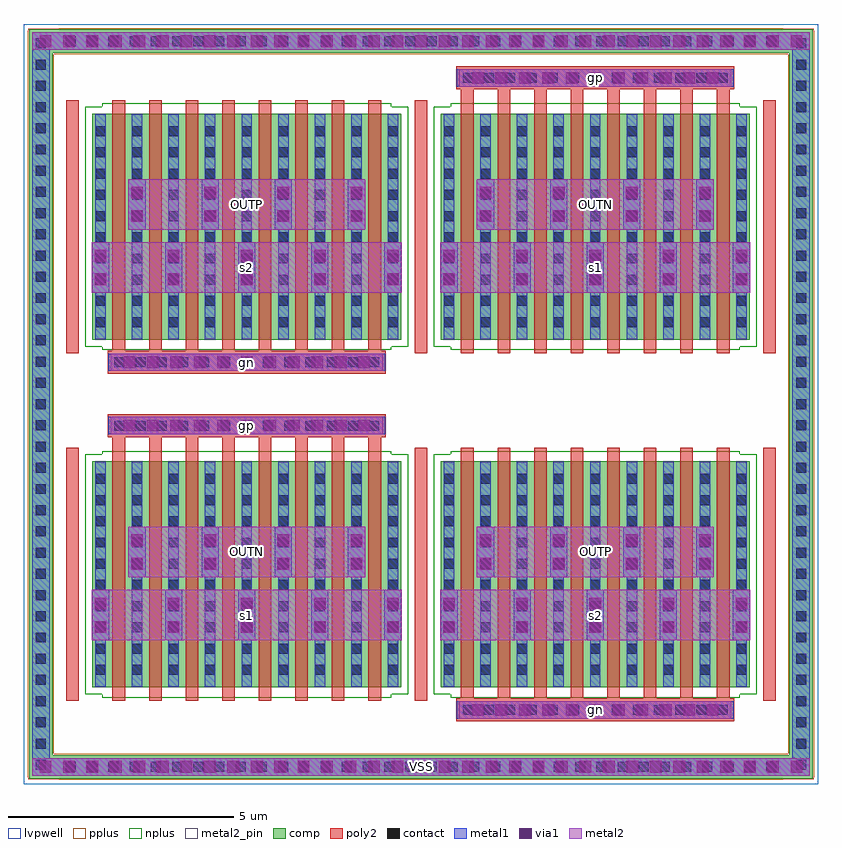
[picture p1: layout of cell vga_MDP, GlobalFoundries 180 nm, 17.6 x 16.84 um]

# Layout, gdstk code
import gdstk
lib = gdstk.Library(unit=1e-6, precision=1e-09)
def R(c, l, rs):  # rectangles x0, y0, x1, y1
    for r in rs: c.add(gdstk.rectangle(r[:2], r[2:], *l))
def A(c, l, x, y, w, h, nx, ny, dx, dy):  # array of equal rectangles
    R(c, l, [(x+i*dx, y+j*dy, x+i*dx+w, y+j*dy+h) for i in range(nx) for j in range(ny)])
comp = (22, 0)
poly2 = (30, 0)
pplus = (31, 0)
nplus = (32, 0)
contact = (33, 0)
metal1 = (34, 0)
via1 = (35, 0)
metal2 = (36, 0)
metal2_pin = (36, 10)
lvpwell = (204, 0)

vga_mdp = lib.new_cell('vga_MDP')
R(vga_mdp, comp, [(-1.4,-0.82,15.96,-0.3), (-1.4,-0.3,-0.88,15.255), (15.44,-0.3,15.96,15.255), (0,1.205,6.84,6.205), (7.72,1.205,14.56,6.205), (0,8.905,6.84,13.905), (7.72,8.905,14.56,13.905), (-1.4,15.255,15.96,15.775)])
A(vga_mdp, poly2, -0.58, 0.905, 0.28, 5.6, 3, 2, 7.72, 7.7)
A(vga_mdp, poly2, 0.445, 0.905, 0.28, 5.84, 8, 1, 0.81, 0)
A(vga_mdp, poly2, 8.165, 0.955, 0.28, 5.55, 8, 1, 0.81, 0)
A(vga_mdp, poly2, 8.165, 8.605, 0.28, 5.84, 8, 1, 0.81, 0)
A(vga_mdp, poly2, 0.445, 8.655, 0.28, 5.55, 8, 1, 0.81, 0)
R(vga_mdp, poly2, [(8.065,0.445,14.215,0.955), (0.345,6.745,6.495,7.255), (0.345,8.145,6.495,8.655), (8.065,14.445,14.215,14.955)])
R(vga_mdp, pplus, [(-0.74,-0.85,15.3,-0.84), (-1.42,-0.84,15.98,-0.795), (-1.43,-0.795,15.99,-0.27), (-1.43,-0.27,-0.85,15.225), (15.41,-0.27,15.99,15.225), (-1.43,15.225,15.99,15.75), (-1.42,15.75,15.98,15.795), (-0.74,15.795,15.3,15.805)])
R(vga_mdp, nplus, [(0.215,0.975,6.625,1.045), (7.935,0.975,14.345,1.045), (-0.16,1.045,7,6.365), (7.56,1.045,14.72,6.365), (0.215,6.365,6.625,6.435), (7.935,6.365,14.345,6.435), (0.215,8.675,6.625,8.745), (7.935,8.675,14.345,8.745), (-0.16,8.745,7,14.065), (7.56,8.745,14.72,14.065), (0.215,14.065,6.625,14.135), (7.935,14.065,14.345,14.135)])
A(vga_mdp, contact, -0.585, -0.67, 0.22, 0.22, 34, 2, 0.47, 16.075)
A(vga_mdp, contact, -1.25, -0.625, 0.22, 0.22, 1, 35, 0, 0.47)
A(vga_mdp, contact, 15.59, -0.625, 0.22, 0.22, 1, 35, 0, 0.47)
A(vga_mdp, contact, 8.21, 0.59, 0.22, 0.22, 13, 2, 0.47, 14)
A(vga_mdp, contact, 0.07, 1.48, 0.22, 0.22, 9, 10, 0.81, 0.47)
A(vga_mdp, contact, 7.79, 1.48, 0.22, 0.22, 9, 10, 0.81, 0.47)
A(vga_mdp, contact, 0.49, 6.89, 0.22, 0.22, 13, 2, 0.47, 1.4)
A(vga_mdp, contact, 0.07, 9.18, 0.22, 0.22, 9, 10, 0.81, 0.47)
A(vga_mdp, contact, 7.79, 9.18, 0.22, 0.22, 9, 10, 0.81, 0.47)
A(vga_mdp, metal1, 0.065, 1.215, 0.23, 1.025, 5, 2, 1.62, 7.7)
A(vga_mdp, metal1, 0.875, 1.215, 0.23, 2.425, 4, 2, 1.62, 7.7)
A(vga_mdp, metal1, 7.785, 1.215, 0.23, 1.025, 5, 2, 1.62, 7.7)
A(vga_mdp, metal1, 8.595, 1.215, 0.23, 2.425, 4, 2, 1.62, 7.7)
A(vga_mdp, metal1, -0.01, 2.24, 0.38, 1.12, 5, 2, 1.62, 7.7)
A(vga_mdp, metal1, 7.71, 2.24, 0.38, 1.12, 5, 2, 1.62, 7.7)
A(vga_mdp, metal1, 0.065, 3.36, 0.23, 2.835, 5, 2, 1.62, 7.7)
A(vga_mdp, metal1, 7.785, 3.36, 0.23, 2.835, 5, 2, 1.62, 7.7)
A(vga_mdp, metal1, 0.8, 3.64, 0.38, 1.12, 4, 2, 1.62, 7.7)
A(vga_mdp, metal1, 8.52, 3.64, 0.38, 1.12, 4, 2, 1.62, 7.7)
A(vga_mdp, metal1, 0.875, 4.76, 0.23, 1.435, 4, 2, 1.62, 7.7)
A(vga_mdp, metal1, 8.595, 4.76, 0.23, 1.435, 4, 2, 1.62, 7.7)
R(vga_mdp, metal1, [(-1.335,-0.755,15.895,-0.365), (-1.335,-0.365,-0.945,15.32), (15.505,-0.365,15.895,15.32), (8.075,0.51,14.205,0.89), (0.355,6.81,6.485,7.19), (0.355,8.21,6.485,8.59), (8.075,14.51,14.205,14.89), (-1.335,15.32,15.895,15.71)])
A(vga_mdp, via1, -1.17, -0.69, 0.26, 0.26, 33, 2, 0.52, 16.075)
A(vga_mdp, via1, 8.41, 0.57, 0.26, 0.26, 11, 2, 0.52, 14)
A(vga_mdp, via1, 0.05, 2.41, 0.26, 0.26, 5, 2, 1.62, 0.52)
A(vga_mdp, via1, 7.77, 2.41, 0.26, 0.26, 5, 2, 1.62, 0.52)
A(vga_mdp, via1, 0.86, 3.81, 0.26, 0.26, 4, 2, 1.62, 0.52)
A(vga_mdp, via1, 8.58, 3.81, 0.26, 0.26, 4, 2, 1.62, 0.52)
A(vga_mdp, via1, 0.69, 6.87, 0.26, 0.26, 11, 2, 0.52, 1.4)
A(vga_mdp, via1, 0.05, 10.11, 0.26, 0.26, 5, 2, 1.62, 0.52)
A(vga_mdp, via1, 7.77, 10.11, 0.26, 0.26, 5, 2, 1.62, 0.52)
A(vga_mdp, via1, 0.86, 11.51, 0.26, 0.26, 4, 2, 1.62, 0.52)
A(vga_mdp, via1, 8.58, 11.51, 0.26, 0.26, 4, 2, 1.62, 0.52)
R(vga_mdp, metal2, [(-1.335,-0.755,15.895,-0.365), (8.13,0.51,14.15,0.89), (-0.01,2.24,6.85,3.36), (7.71,2.24,14.57,3.36), (0.8,3.64,6.04,4.76), (8.52,3.64,13.76,4.76), (0.41,6.81,6.43,7.19), (0.41,8.21,6.43,8.59), (-0.01,9.94,6.85,11.06), (7.71,9.94,14.57,11.06), (0.8,11.34,6.04,12.46), (8.52,11.34,13.76,12.46), (8.13,14.51,14.15,14.89), (-1.335,15.32,15.895,15.71)])
R(vga_mdp, metal2_pin, [(-1.335,-0.755,15.895,-0.365), (8.13,0.51,14.15,0.89), (-0.01,2.24,6.85,3.36), (7.71,2.24,14.57,3.36), (0.8,3.64,6.04,4.76), (8.52,3.64,13.76,4.76), (0.41,6.81,6.43,7.19), (0.41,8.21,6.43,8.59), (-0.01,9.94,6.85,11.06), (7.71,9.94,14.57,11.06), (0.8,11.34,6.04,12.46), (8.52,11.34,13.76,12.46), (8.13,14.51,14.15,14.89)])
R(vga_mdp, lvpwell, [(-1.52,-0.94,16.08,15.895)])
vga_mdp.add(gdstk.Label('s1', (11.14,10.5), layer=36, texttype=10))
vga_mdp.add(gdstk.Label('s1', (3.42,2.8), layer=36, texttype=10))
vga_mdp.add(gdstk.Label('OUTN', (11.14,11.9), layer=36, texttype=10))
vga_mdp.add(gdstk.Label('OUTN', (3.42,4.2), layer=36, texttype=10))
vga_mdp.add(gdstk.Label('gp', (11.14,14.7), layer=36, texttype=10))
vga_mdp.add(gdstk.Label('gp', (3.42,7), layer=36, texttype=10))
vga_mdp.add(gdstk.Label('s2', (3.42,10.5), layer=36, texttype=10))
vga_mdp.add(gdstk.Label('s2', (11.14,2.8), layer=36, texttype=10))
vga_mdp.add(gdstk.Label('OUTP', (3.42,11.9), layer=36, texttype=10))
vga_mdp.add(gdstk.Label('OUTP', (11.14,4.2), layer=36, texttype=10))
vga_mdp.add(gdstk.Label('gn', (3.42,8.4), layer=36, texttype=10))
vga_mdp.add(gdstk.Label('gn', (11.14,0.7), layer=36, texttype=10))
vga_mdp.add(gdstk.Label('VSS', (7.28,-0.56), layer=36, texttype=10))

lib.write_gds('vga_MDP.gds')
